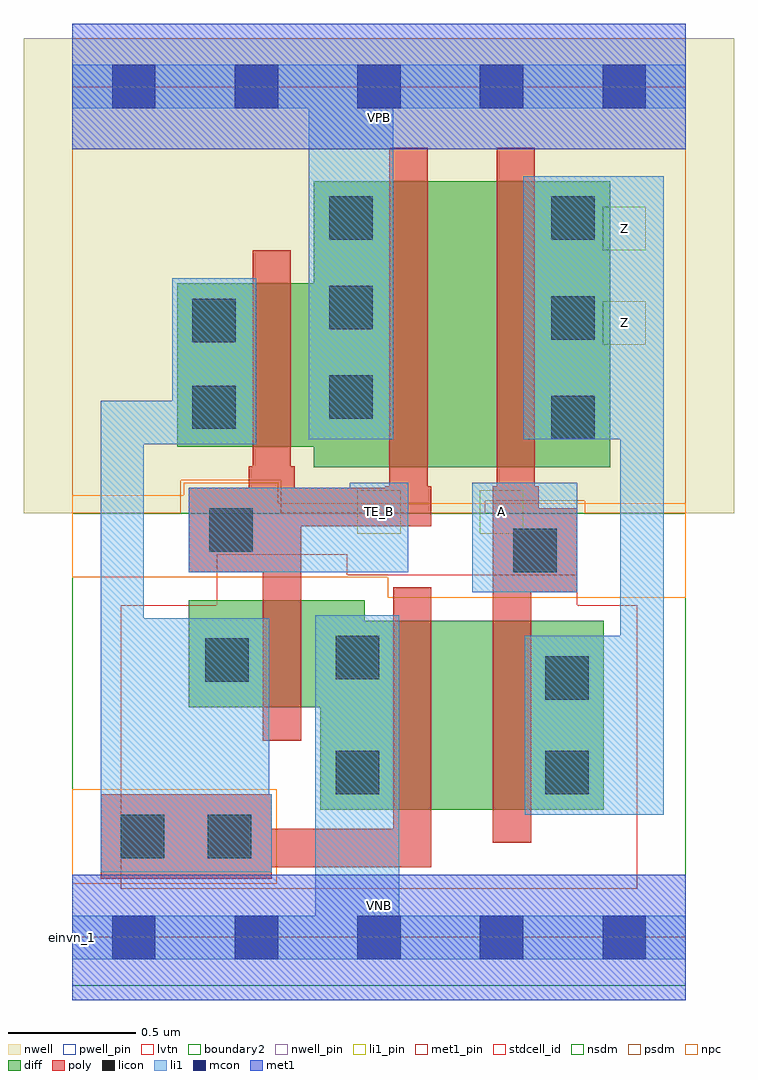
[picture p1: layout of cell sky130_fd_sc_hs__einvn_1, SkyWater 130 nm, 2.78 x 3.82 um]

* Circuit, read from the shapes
.subckt sky130_fd_sc_hs__einvn_1 A TE_B VGND VNB VPB VPWR Z
XM1 VGND TE_B n1 VNB sky130_fd_pr__nfet_01v8_lvt w=0.42 l=0.15
XM2 n2 n1 VGND VNB sky130_fd_pr__nfet_01v8_lvt w=0.74 l=0.15
XM3 Z A n2 VNB sky130_fd_pr__nfet_01v8_lvt w=0.74 l=0.15
XM4 VPWR TE_B n1 VPB sky130_fd_pr__pfet_01v8 w=0.64 l=0.15
XM5 n3 TE_B VPWR VPB sky130_fd_pr__pfet_01v8 w=1.12 l=0.15
XM6 Z A n3 VPB sky130_fd_pr__pfet_01v8 w=1.12 l=0.15
.ends

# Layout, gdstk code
import gdstk
lib = gdstk.Library(unit=1e-6, precision=1e-09)
def R(c, l, rs):  # rectangles x0, y0, x1, y1
    for r in rs: c.add(gdstk.rectangle(r[:2], r[2:], *l))
def A(c, l, x, y, w, h, nx, ny, dx, dy):  # array of equal rectangles
    R(c, l, [(x+i*dx, y+j*dy, x+i*dx+w, y+j*dy+h) for i in range(nx) for j in range(ny)])
def P(c, l, *ps):  # polygons
    for p in ps: c.add(gdstk.Polygon(p, *l))
nwell_pin = (64, 16)
nwell = (64, 20)
diff = (65, 20)
poly = (66, 20)
licon = (66, 44)
li1_pin = (67, 16)
li1 = (67, 20)
mcon = (67, 44)
met1_pin = (68, 16)
met1 = (68, 20)
stdcell_id = (81, 4)
nsdm = (93, 44)
psdm = (94, 20)
npc = (95, 20)
pwell_pin = (122, 16)
lvtn = (125, 44)
boundary2 = (236, 0)

sky130_fd_sc_hs__einvn_1 = lib.new_cell('sky130_fd_sc_hs__einvn_1')
R(sky130_fd_sc_hs__einvn_1, nwell_pin, [(0,3.085,2.4,3.33)])
R(sky130_fd_sc_hs__einvn_1, nwell, [(-0.19,1.66,2.59,3.52)])
P(sky130_fd_sc_hs__einvn_1, diff, [(2.08,1.24),(1.145,1.24),(1.145,1.32),(0.455,1.32),(0.455,0.9),(0.97,0.9),(0.97,0.5),(2.08,0.5)],
  [(2.105,2.96),(0.945,2.96),(0.945,2.56),(0.41,2.56),(0.41,1.92),(0.945,1.92),(0.945,1.84),(2.105,1.84)])
P(sky130_fd_sc_hs__einvn_1, poly, [(1.975,1.68),(1.825,1.68),(1.825,1.765),(1.81,1.765),(1.81,3.09),(1.66,3.09),(1.66,1.765),(1.645,1.765),(1.645,0.37),(1.795,0.37),(1.795,1.35),(1.975,1.35)],
  [(1.405,1.37),(1.255,1.37),(1.255,0.425),(0.78,0.425),(0.78,0.56),(0.11,0.56),(0.11,0.23),(0.78,0.23),(0.78,0.275),(1.405,0.275)],
  [(1.405,1.765),(1.39,1.765),(1.39,3.09),(1.24,3.09),(1.24,1.765),(1.225,1.765),(1.225,1.76),(0.87,1.76),(0.87,1.845),(0.855,1.845),(0.855,2.69),(0.705,2.69),(0.705,1.845),(0.69,1.845),(0.69,1.76),(0.455,1.76),(0.455,1.43),(0.745,1.43),(0.745,0.77),(0.895,0.77),(0.895,1.61),(1.405,1.61)])
A(sky130_fd_sc_hs__einvn_1, licon, 1.875, 1.95, 0.17, 0.17, 1, 3, 0, 0.39)
A(sky130_fd_sc_hs__einvn_1, licon, 1.005, 2.03, 0.17, 0.17, 1, 3, 0, 0.35)
R(sky130_fd_sc_hs__einvn_1, licon, [(0.19,0.31,0.36,0.48), (0.53,0.31,0.7,0.48), (1.03,0.56,1.2,0.73), (1.85,0.56,2.02,0.73), (1.85,0.93,2.02,1.1), (0.52,1,0.69,1.17), (1.03,1.01,1.2,1.18), (1.725,1.43,1.895,1.6), (0.535,1.51,0.705,1.68), (0.47,1.99,0.64,2.16), (0.47,2.33,0.64,2.5)])
R(sky130_fd_sc_hs__einvn_1, li1_pin, [(1.115,1.58,1.285,1.75), (1.595,1.58,1.765,1.75), (2.075,2.32,2.245,2.49), (2.075,2.69,2.245,2.86)])
R(sky130_fd_sc_hs__einvn_1, li1, [(1.565,1.35,1.975,1.78)])
P(sky130_fd_sc_hs__einvn_1, li1, [(0,-0.085),(0,0.085),(0.95,0.085),(0.95,1.26),(1.28,1.26),(1.28,0.085),(2.4,0.085),(2.4,-0.085)],
  [(0,3.245),(0,3.415),(2.4,3.415),(2.4,3.245),(1.255,3.245),(1.255,1.95),(0.925,1.95),(0.925,3.245)],
  [(1.765,1.95),(1.765,2.98),(2.315,2.98),(2.315,0.48),(1.77,0.48),(1.77,1.18),(2.145,1.18),(2.145,1.95)],
  [(0.455,1.43),(0.455,1.76),(1.085,1.76),(1.085,1.78),(1.315,1.78),(1.315,1.43)],
  [(0.11,2.1),(0.39,2.1),(0.39,2.58),(0.72,2.58),(0.72,1.93),(0.28,1.93),(0.28,1.25),(0.77,1.25),(0.77,0.56),(0.78,0.56),(0.78,0.255),(0.11,0.255)])
A(sky130_fd_sc_hs__einvn_1, mcon, 0.155, -0.085, 0.17, 0.17, 5, 2, 0.48, 3.33)
R(sky130_fd_sc_hs__einvn_1, met1_pin, [(0,0,2.4,0.245), (0,3.085,2.4,3.33)])
R(sky130_fd_sc_hs__einvn_1, met1, [(0,-0.245,2.4,0.245), (0,3.085,2.4,3.575)])
R(sky130_fd_sc_hs__einvn_1, stdcell_id, [(0,0,2.4,3.33)])
R(sky130_fd_sc_hs__einvn_1, nsdm, [(0,-0.19,2.4,1.66)])
P(sky130_fd_sc_hs__einvn_1, psdm, [(2.4,3.52),(0,3.52),(0,1.66),(0.425,1.66),(0.425,1.79),(0.815,1.79),(0.815,1.66),(1.615,1.66),(1.615,1.71),(2.005,1.71),(2.005,1.66),(2.4,1.66)])
R(sky130_fd_sc_hs__einvn_1, npc, [(0,0.21,0.8,0.58)])
P(sky130_fd_sc_hs__einvn_1, npc, [(2.4,1.7),(0.805,1.7),(0.805,1.78),(0.435,1.78),(0.435,1.73),(0,1.73),(0,1.41),(1.235,1.41),(1.235,1.33),(2.4,1.33)])
R(sky130_fd_sc_hs__einvn_1, pwell_pin, [(0,0,2.4,0.245)])
P(sky130_fd_sc_hs__einvn_1, lvtn, [(2.21,1.3),(1.975,1.3),(1.975,1.42),(1.075,1.42),(1.075,1.5),(0.565,1.5),(0.565,1.3),(0.19,1.3),(0.19,0.19),(2.21,0.19)])
R(sky130_fd_sc_hs__einvn_1, boundary2, [(0,0,2.4,3.33)])
sky130_fd_sc_hs__einvn_1.add(gdstk.Label('einvn_1', (0,0), layer=83, texttype=44))
sky130_fd_sc_hs__einvn_1.add(gdstk.Label('VNB', (1.2,0.123), layer=64, texttype=59))
sky130_fd_sc_hs__einvn_1.add(gdstk.Label('VPB', (1.2,3.208), layer=64, texttype=5))
sky130_fd_sc_hs__einvn_1.add(gdstk.Label('VPWR', (1.2,3.208), layer=68, texttype=5))
sky130_fd_sc_hs__einvn_1.add(gdstk.Label('VGND', (1.2,0.123), layer=68, texttype=5))
sky130_fd_sc_hs__einvn_1.add(gdstk.Label('A', (1.68,1.665), layer=67, texttype=5))
sky130_fd_sc_hs__einvn_1.add(gdstk.Label('Z', (2.16,2.405), layer=67, texttype=5))
sky130_fd_sc_hs__einvn_1.add(gdstk.Label('Z', (2.16,2.775), layer=67, texttype=5))
sky130_fd_sc_hs__einvn_1.add(gdstk.Label('TE_B', (1.2,1.665), layer=67, texttype=5))

lib.write_gds('sky130_fd_sc_hs__einvn_1.gds')
